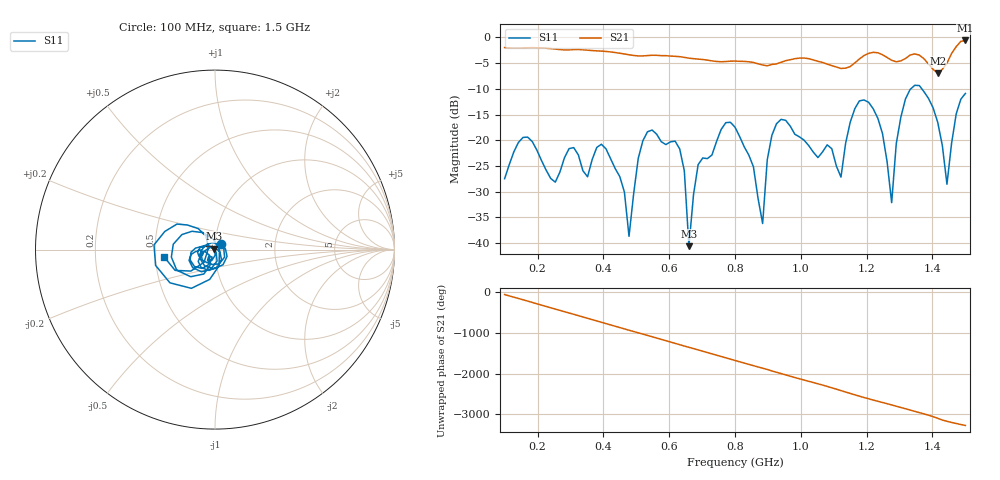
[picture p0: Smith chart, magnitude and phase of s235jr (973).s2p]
! NanoVNA-App
! Date: 2025-09-25 15:11:44
! Start: 100MHz Stop: 1,5GHz Points: 101
! S-Parameter data: F S11 S21 S12 S22
# Hz S RI R 50
!  Frequency  S11_Real  S11_Imag  S21_Real  S21_Imag  S12_Real  S12_Imag  S22_Real  S22_Imag
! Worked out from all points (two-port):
!   101 points, 100 MHz to 1.5 GHz, reference 50 ohm
!   highest |S21| = -0.58 dB at 1.5 GHz (marker M1); lowest = -7.0 dB at 1.416 GHz (marker M2)
!   |S21| within 3 dB of the highest: start of sweep to 505.6 MHz; 522 MHz to 597.3 MHz (75.29 MHz wide, 13.5 % of centre) (the widest 2 of 5)
!   lowest |S11| = -40.6 dB at 660 MHz (marker M3), VSWR 1.02, Z = 49.3 + j0.586 ohm
!   |S11| at or under -10 dB: start of sweep to 1.334 GHz; 1.368 GHz to end of sweep
!   S12 and S22 are empty: the file has one direction only
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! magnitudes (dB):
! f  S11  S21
! 100 MHz  -27.5  -2.0
! 156 MHz  -19.4  -2.1
! 338 MHz  -25.9  -2.4
! 408 MHz  -21.7  -2.7
! 478 MHz  -38.7  -3.4
! 520 MHz  -20.1  -3.6
! 576 MHz  -20.3  -3.5
! 632 MHz  -21.7  -3.7
! 660 MHz  -40.6  -4.0
! 688 MHz  -24.7  -4.2
! 800 MHz  -17.4  -4.6
! 884 MHz  -36.2  -5.4
! 926 MHz  -16.8  -5.1
! 1.038 GHz  -22.3  -4.4
! 1.122 GHz  -27.2  -6.0
! 1.164 GHz  -13.9  -4.9
! 1.206 GHz  -12.6  -3.1
! 1.276 GHz  -32.1  -4.4
! 1.332 GHz  -10.1  -3.4
! 1.416 GHz  -16.5  -7.0
! 1.444 GHz  -28.5  -5.0
! 1.5 GHz  -10.9  -0.6
